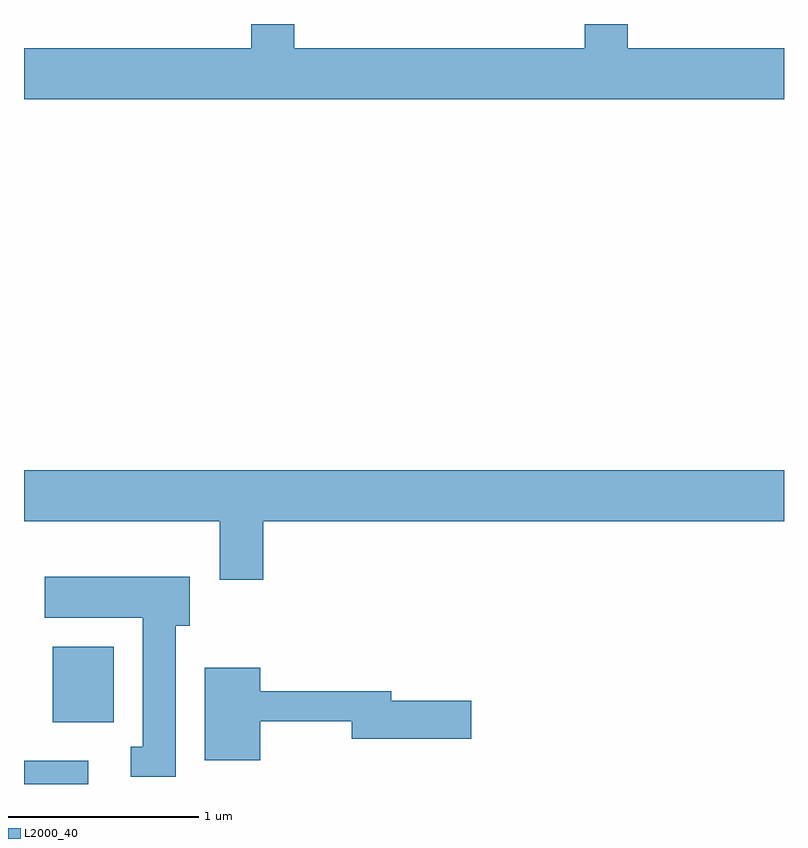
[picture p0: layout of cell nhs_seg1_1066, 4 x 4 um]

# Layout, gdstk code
import gdstk
lib = gdstk.Library(unit=1e-6, precision=1e-09)
def R(c, l, rs):  # rectangles x0, y0, x1, y1
    for r in rs: c.add(gdstk.rectangle(r[:2], r[2:], *l))
def P(c, l, *ps):  # polygons
    for p in ps: c.add(gdstk.Polygon(p, *l))
L2000_40 = (2000, 40)

nhs_seg1_1066 = lib.new_cell('nhs_seg1_1066')
R(nhs_seg1_1066, L2000_40, [(217.611,933.712,217.949,933.834), (217.761,934.036,218.084,934.434)])
P(nhs_seg1_1066, L2000_40, [(221.611,937.584),(220.789,937.584),(220.789,937.712),(220.561,937.712),(220.561,937.584),(219.034,937.584),(219.034,937.712),(218.806,937.712),(218.806,937.584),(217.611,937.584),(217.611,937.316),(221.611,937.316)],
  [(218.869,935.096),(221.611,935.096),(221.611,935.364),(217.611,935.364),(217.611,935.096),(218.641,935.096),(218.641,934.786),(218.869,934.786)],
  [(218.409,934.546),(218.484,934.546),(218.484,934.804),(217.721,934.804),(217.721,934.586),(218.236,934.586),(218.236,933.909),(218.173,933.909),(218.173,933.751),(218.409,933.751)],
  [(218.854,934.041),(219.336,934.041),(219.336,933.951),(219.964,933.951),(219.964,934.149),(219.544,934.149),(219.544,934.199),(218.854,934.199),(218.854,934.324),(218.561,934.324),(218.561,933.836),(218.854,933.836)])

lib.write_gds('nhs_seg1_1066.gds')
